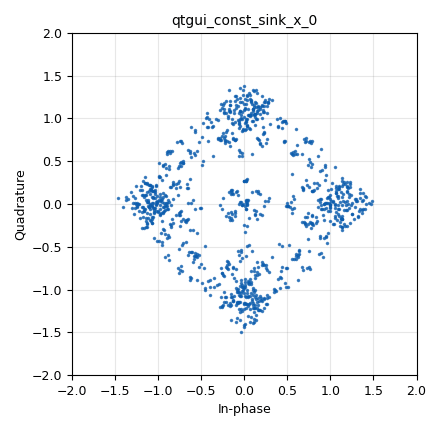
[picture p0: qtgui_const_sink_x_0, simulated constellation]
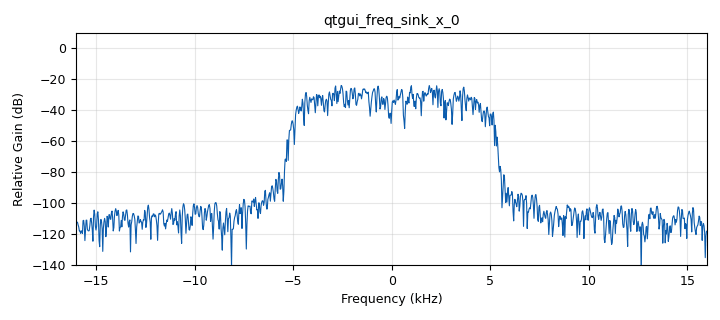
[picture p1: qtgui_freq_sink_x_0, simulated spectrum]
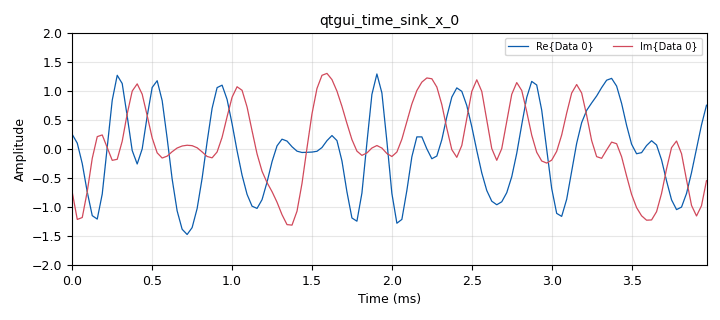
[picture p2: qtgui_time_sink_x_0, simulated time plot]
<?xml version='1.0' encoding='utf-8'?>
<?grc format='1' created='3.7.11'?>
<flow_graph>
<block>
<key>options</key>
<param><key>id</key><value>top_block</value></param>
<param><key>generate_options</key><value>qt_gui</value></param>
<param><key>title</key><value>MPSK Stage 2 GUI</value></param>
</block>
<block>
<key>variable</key>
<param><key>id</key><value>arity</value></param>
<param><key>value</key><value>4</value></param>
</block>
<block>
<key>variable_qtgui_range</key>
<param><key>id</key><value>freq_offset</value></param>
<param><key>value</key><value>0</value></param>
<param><key>gui_hint</key><value>0,1,1,1</value></param>
<param><key>label</key><value>Channel: Frequency Offset</value></param>
<param><key>orient</key><value>Qt.Horizontal</value></param>
<param><key>start</key><value>-0.1</value></param>
<param><key>step</key><value>0.001</value></param>
<param><key>stop</key><value>0.1</value></param>
</block>
<block>
<key>variable_qtgui_range</key>
<param><key>id</key><value>noise</value></param>
<param><key>value</key><value>0.0001</value></param>
<param><key>gui_hint</key><value>0,0,1,1</value></param>
<param><key>label</key><value>Channel Noise Voltage</value></param>
<param><key>orient</key><value>Qt.Horizontal</value></param>
<param><key>start</key><value>0</value></param>
<param><key>step</key><value>0.010</value></param>
<param><key>stop</key><value>1</value></param>
</block>
<block>
<key>variable_constellation_rect</key>
<param><key>id</key><value>qpsk</value></param>
<param><key>const_points</key><value>[1j, -1, -1j, 1]</value></param>
<param><key>imag_sect</key><value>2</value></param>
<param><key>real_sect</key><value>2</value></param>
<param><key>rot_sym</key><value>4</value></param>
<param><key>sym_map</key><value>[0, 1, 3, 2]</value></param>
<param><key>w_imag_sect</key><value>1</value></param>
<param><key>w_real_sect</key><value>1</value></param>
</block>
<block>
<key>variable</key>
<param><key>id</key><value>roll_off</value></param>
<param><key>value</key><value>0.35</value></param>
</block>
<block>
<key>variable</key>
<param><key>id</key><value>samp_rate</value></param>
<param><key>value</key><value>32000</value></param>
</block>
<block>
<key>variable</key>
<param><key>id</key><value>sps</value></param>
<param><key>value</key><value>4</value></param>
</block>
<block>
<key>variable_qtgui_range</key>
<param><key>id</key><value>time_offset</value></param>
<param><key>value</key><value>1</value></param>
<param><key>gui_hint</key><value>0,2,1,1</value></param>
<param><key>label</key><value>Channel: Time Offset</value></param>
<param><key>orient</key><value>Qt.Horizontal</value></param>
<param><key>start</key><value>0.999</value></param>
<param><key>step</key><value>0.0001</value></param>
<param><key>stop</key><value>1.001</value></param>
</block>
<block>
<key>variable_rrc_filter_taps</key>
<param><key>id</key><value>variable_rrc_filter_taps_0</value></param>
<param><key>_enabled</key><value>0</value></param>
<param><key>alpha</key><value>0.35</value></param>
<param><key>gain</key><value>1.0</value></param>
<param><key>ntaps</key><value>11*sps</value></param>
<param><key>samp_rate</key><value>samp_rate</value></param>
</block>
<block>
<key>blocks_throttle</key>
<param><key>id</key><value>blocks_throttle_0</value></param>
<param><key>samples_per_second</key><value>samp_rate</value></param>
<param><key>type</key><value>complex</value></param>
</block>
<block>
<key>channels_channel_model</key>
<param><key>id</key><value>channels_channel_model_0</value></param>
<param><key>epsilon</key><value>1.0</value></param>
<param><key>freq_offset</key><value>freq_offset</value></param>
<param><key>noise_voltage</key><value>noise</value></param>
<param><key>seed</key><value>0</value></param>
<param><key>taps</key><value>1</value></param>
</block>
<block>
<key>digital_constellation_modulator</key>
<param><key>id</key><value>digital_constellation_modulator_0</value></param>
<param><key>constellation</key><value>qpsk</value></param>
<param><key>differential</key><value>True</value></param>
<param><key>excess_bw</key><value>roll_off</value></param>
<param><key>samples_per_symbol</key><value>sps</value></param>
</block>
<block>
<key>fft_filter_xxx</key>
<param><key>id</key><value>fft_filter_xxx_0</value></param>
<param><key>decim</key><value>1</value></param>
<param><key>_enabled</key><value>0</value></param>
<param><key>type</key><value>ccc</value></param>
</block>
<block>
<key>fft_filter_xxx</key>
<param><key>id</key><value>fft_filter_xxx_1</value></param>
<param><key>decim</key><value>1</value></param>
<param><key>_enabled</key><value>0</value></param>
<param><key>type</key><value>ccc</value></param>
</block>
<block>
<key>qtgui_const_sink_x</key>
<param><key>id</key><value>qtgui_const_sink_x_0</value></param>
<param><key>gui_hint</key><value>1,2,2,2</value></param>
<param><key>grid</key><value>True</value></param>
<param><key>size</key><value>1024</value></param>
<param><key>type</key><value>complex</value></param>
</block>
<block>
<key>qtgui_freq_sink_x</key>
<param><key>id</key><value>qtgui_freq_sink_x_0</value></param>
<param><key>bw</key><value>samp_rate</value></param>
<param><key>fc</key><value>0</value></param>
<param><key>fftsize</key><value>1024</value></param>
<param><key>gui_hint</key><value>3,0,2,4</value></param>
<param><key>showports</key><value>True</value></param>
<param><key>type</key><value>complex</value></param>
<param><key>wintype</key><value>firdes.WIN_BLACKMAN_hARRIS</value></param>
</block>
<block>
<key>qtgui_time_sink_x</key>
<param><key>id</key><value>qtgui_time_sink_x_0</value></param>
<param><key>gui_hint</key><value>1,0,2,2</value></param>
<param><key>color1</key><value>"blue"</value></param>
<param><key>label1</key><value></value></param>
<param><key>color2</key><value>"red"</value></param>
<param><key>label2</key><value></value></param>
<param><key>size</key><value>128</value></param>
<param><key>srate</key><value>samp_rate</value></param>
<param><key>type</key><value>complex</value></param>
<param><key>ymax</key><value>2</value></param>
<param><key>ymin</key><value>-2</value></param>
</block>
<block>
<key>analog_random_source_x</key>
<param><key>id</key><value>random_source</value></param>
<param><key>max</key><value>256</value></param>
<param><key>min</key><value>0</value></param>
<param><key>num_samps</key><value>10000</value></param>
<param><key>type</key><value>byte</value></param>
<param><key>repeat</key><value>True</value></param>
</block>
<connection><source_block_id>blocks_throttle_0</source_block_id><sink_block_id>channels_channel_model_0</sink_block_id><source_key>0</source_key><sink_key>0</sink_key></connection>
<connection><source_block_id>channels_channel_model_0</source_block_id><sink_block_id>qtgui_const_sink_x_0</sink_block_id><source_key>0</source_key><sink_key>0</sink_key></connection>
<connection><source_block_id>channels_channel_model_0</source_block_id><sink_block_id>qtgui_freq_sink_x_0</sink_block_id><source_key>0</source_key><sink_key>0</sink_key></connection>
<connection><source_block_id>channels_channel_model_0</source_block_id><sink_block_id>qtgui_time_sink_x_0</sink_block_id><source_key>0</source_key><sink_key>0</sink_key></connection>
<connection><source_block_id>digital_constellation_modulator_0</source_block_id><sink_block_id>blocks_throttle_0</sink_block_id><source_key>0</source_key><sink_key>0</sink_key></connection>
<connection><source_block_id>random_source</source_block_id><sink_block_id>digital_constellation_modulator_0</sink_block_id><source_key>0</source_key><sink_key>0</sink_key></connection>
</flow_graph>
